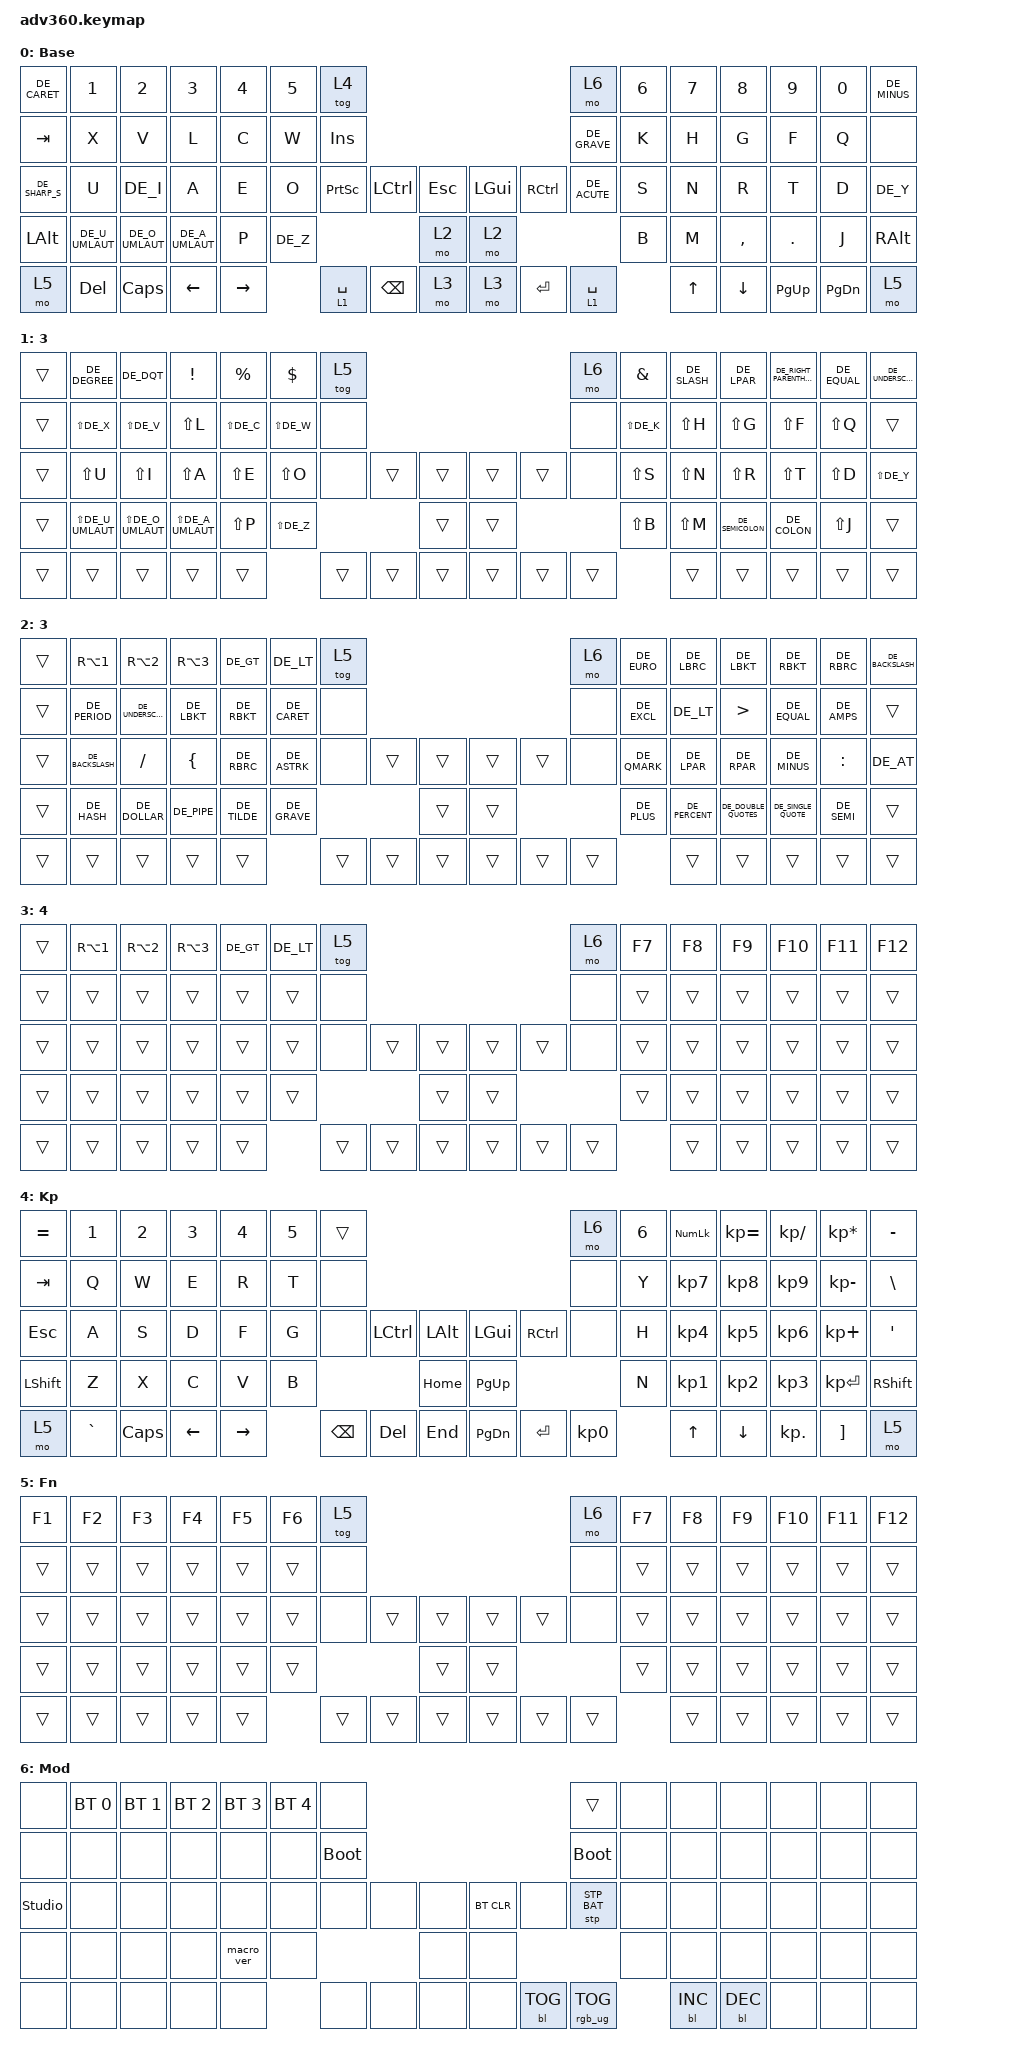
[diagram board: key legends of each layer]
#include <dt-bindings/zmk/stp.h>
#include <behaviors.dtsi>
#include <dt-bindings/zmk/backlight.h>
#include <dt-bindings/zmk/bt.h>
#include <dt-bindings/zmk/keys.h>
#include <dt-bindings/zmk/rgb.h>
#include "keys_de.h"

/ {
    behaviors {
        #include "macros.dtsi"
      #include "version.dtsi"

        hm: homerow_mods {
            compatible = "zmk,behavior-hold-tap";
            label = "HOMEROW_MODS";
            #binding-cells = <2>;
            tapping-term-ms = <200>;
            quick_tap_ms = <175>;
            flavor = "tap-preferred";
            bindings = <&kp>, <&kp>;
        };

        ThumbShift: ThumbShift {
            compatible = "zmk,behavior-hold-tap";
            label = "THUMBSHIFT";
            bindings = <&mo>, <&kp>;

            #binding-cells = <2>;
            tapping-term-ms = <200>;
            flavor = "balanced";
            require-prior-idle-ms = <120>;
        };
    };

    keymap {
        compatible = "zmk,keymap";

        default_layer {
            display-name = "Base";
            bindings = <
&kp DE_CARET    &kp N1           &kp N2           &kp N3           &kp N4     &kp N5    &tog 4                                                                &mo 6                &kp N6  &kp N7  &kp N8     &kp N9       &kp N0         &kp DE_MINUS
&kp TAB         &kp X            &kp V            &kp L            &kp C      &kp W     &kp INSERT                                                            &kp DE_GRAVE         &kp K   &kp H   &kp G      &kp F        &kp Q          &none
&kp DE_SHARP_S  &kp U            &kp DE_I         &kp A            &kp E      &kp O     &kp PRINTSCREEN      &kp LCTRL      &kp ESC      &kp LGUI  &kp RCTRL  &kp DE_ACUTE         &kp S   &kp N   &kp R      &kp T        &kp D          &kp DE_Y
&kp LEFT_ALT    &kp DE_U_UMLAUT  &kp DE_O_UMLAUT  &kp DE_A_UMLAUT  &kp P      &kp DE_Z                                      &mo 2        &mo 2                                     &kp B   &kp M   &kp COMMA  &kp DOT      &kp J          &kp RIGHT_ALT
&mo 5           &kp DELETE       &kp CAPS         &kp LEFT         &kp RIGHT            &ThumbShift 1 SPACE  &kp BACKSPACE  &mo 3        &mo 3     &kp ENTER  &ThumbShift 1 SPACE          &kp UP  &kp DOWN   &kp PAGE_UP  &kp PAGE_DOWN  &mo 5
            >;
        };

        Neo2Shift {
            display-name = "3";
            bindings = <
&trans  &kp DE_DEGREE        &kp DE_DQT           &kp EXCL             &kp PRCNT     &kp DLLR      &tog 5                                      &mo 6   &kp AMPS      &kp DE_SLASH  &kp DE_LPAR       &kp DE_RIGHT_PARENTHESIS  &kp DE_EQUAL  &kp DE_UNDERSCORE
&trans  &kp LS(DE_X)         &kp LS(DE_V)         &kp LS(L)            &kp LS(DE_C)  &kp LS(DE_W)  &none                                       &none   &kp LS(DE_K)  &kp LS(H)     &kp LS(G)         &kp LS(F)                 &kp LS(Q)     &trans
&trans  &kp LS(U)            &kp LS(I)            &kp LS(A)            &kp LS(E)     &kp LS(O)     &none   &trans  &trans      &trans  &trans  &none   &kp LS(S)     &kp LS(N)     &kp LS(R)         &kp LS(T)                 &kp LS(D)     &kp LS(DE_Y)
&trans  &kp LS(DE_U_UMLAUT)  &kp LS(DE_O_UMLAUT)  &kp LS(DE_A_UMLAUT)  &kp LS(P)     &kp LS(DE_Z)                  &trans      &trans                  &kp LS(B)     &kp LS(M)     &kp DE_SEMICOLON  &kp DE_COLON              &kp LS(J)     &trans
&trans  &trans               &trans               &trans               &trans                      &trans  &trans  &trans      &trans  &trans  &trans                &trans        &trans            &trans                    &trans        &trans
            >;
        };

        Neo3 {
            display-name = "3";
            bindings = <
&trans  &kp RA(NUMBER_1)  &kp RA(NUMBER_2)   &kp RA(NUMBER_3)  &kp DE_GT     &kp DE_LT     &tog 5                                      &mo 6   &kp DE_EURO   &kp DE_LBRC     &kp DE_LBKT           &kp DE_RBKT          &kp DE_RBRC  &kp DE_BACKSLASH
&trans  &kp DE_PERIOD     &kp DE_UNDERSCORE  &kp DE_LBKT       &kp DE_RBKT   &kp DE_CARET  &none                                       &none   &kp DE_EXCL   &kp DE_LT       &kp GT                &kp DE_EQUAL         &kp DE_AMPS  &trans
&trans  &kp DE_BACKSLASH  &kp FSLH           &kp LBRC          &kp DE_RBRC   &kp DE_ASTRK  &none   &trans  &trans      &trans  &trans  &none   &kp DE_QMARK  &kp DE_LPAR     &kp DE_RPAR           &kp DE_MINUS         &kp COLON    &kp DE_AT
&trans  &kp DE_HASH       &kp DE_DOLLAR      &kp DE_PIPE       &kp DE_TILDE  &kp DE_GRAVE                  &trans      &trans                  &kp DE_PLUS   &kp DE_PERCENT  &kp DE_DOUBLE_QUOTES  &kp DE_SINGLE_QUOTE  &kp DE_SEMI  &trans
&trans  &trans            &trans             &trans            &trans                      &trans  &trans  &trans      &trans  &trans  &trans                &trans          &trans                &trans               &trans       &trans
            >;
        };

        Neo4 {
            display-name = "4";
            bindings = <
&trans  &kp RA(N1)  &kp RA(NUMBER_2)  &kp RA(N3)  &kp DE_GT  &kp DE_LT  &tog 5                                      &mo 6   &kp F7  &kp F8  &kp F9  &kp F10  &kp F11  &kp F12
&trans  &trans      &trans            &trans      &trans     &trans     &none                                       &none   &trans  &trans  &trans  &trans   &trans   &trans
&trans  &trans      &trans            &trans      &trans     &trans     &none   &trans  &trans      &trans  &trans  &none   &trans  &trans  &trans  &trans   &trans   &trans
&trans  &trans      &trans            &trans      &trans     &trans                     &trans      &trans                  &trans  &trans  &trans  &trans   &trans   &trans
&trans  &trans      &trans            &trans      &trans                &trans  &trans  &trans      &trans  &trans  &trans          &trans  &trans  &trans   &trans   &trans
            >;
        };

        keypad {
            display-name = "Kp";
            bindings = <
&kp EQUAL  &kp N1     &kp N2    &kp N3    &kp N4     &kp N5  &trans                                                   &mo 6      &kp N6  &kp KP_NUM  &kp KP_EQUAL  &kp KP_DIVIDE  &kp KP_MULTIPLY  &kp MINUS
&kp TAB    &kp Q      &kp W     &kp E     &kp R      &kp T   &none                                                    &none      &kp Y   &kp KP_N7   &kp KP_N8     &kp KP_N9      &kp KP_MINUS     &kp BSLH
&kp ESC    &kp A      &kp S     &kp D     &kp F      &kp G   &none     &kp LCTRL  &kp LALT      &kp LGUI   &kp RCTRL  &none      &kp H   &kp KP_N4   &kp KP_N5     &kp KP_N6      &kp KP_PLUS      &kp SQT
&kp LSHFT  &kp Z      &kp X     &kp C     &kp V      &kp B                        &kp HOME      &kp PG_UP                        &kp N   &kp KP_N1   &kp KP_N2     &kp KP_N3      &kp KP_ENTER     &kp RSHFT
&mo 5      &kp GRAVE  &kp CAPS  &kp LEFT  &kp RIGHT          &kp BSPC  &kp DEL    &kp END       &kp PG_DN  &kp ENTER  &kp KP_N0          &kp UP      &kp DOWN      &kp KP_DOT     &kp RBKT         &mo 5
            >;
        };

        fn {
            display-name = "Fn";
            bindings = <
&kp F1  &kp F2  &kp F3  &kp F4  &kp F5  &kp F6  &tog 5                                      &mo 6   &kp F7  &kp F8  &kp F9  &kp F10  &kp F11  &kp F12
&trans  &trans  &trans  &trans  &trans  &trans  &none                                       &none   &trans  &trans  &trans  &trans   &trans   &trans
&trans  &trans  &trans  &trans  &trans  &trans  &none   &trans  &trans      &trans  &trans  &none   &trans  &trans  &trans  &trans   &trans   &trans
&trans  &trans  &trans  &trans  &trans  &trans                  &trans      &trans                  &trans  &trans  &trans  &trans   &trans   &trans
&trans  &trans  &trans  &trans  &trans          &trans  &trans  &trans      &trans  &trans  &trans          &trans  &trans  &trans   &trans   &trans
            >;
        };

        mod {
            display-name = "Mod";
            bindings = <
&none           &bt BT_SEL 0  &bt BT_SEL 1  &bt BT_SEL 2  &bt BT_SEL 3  &bt BT_SEL 4  &none                                                  &trans           &none  &none       &none       &none  &none  &none
&none           &none         &none         &none         &none         &none         &bootloader                                            &bootloader      &none  &none       &none       &none  &none  &none
&studio_unlock  &none         &none         &none         &none         &none         &none        &none  &none      &bt BT_CLR  &none       &stp STP_BAT     &none  &none       &none       &none  &none  &none
&none           &none         &none         &none         &macro_ver    &none                             &none      &none                                    &none  &none       &none       &none  &none  &none
&none           &none         &none         &none         &none                       &none        &none  &none      &none       &bl BL_TOG  &rgb_ug RGB_TOG         &bl BL_INC  &bl BL_DEC  &none  &none  &none
            >;
        };
    };
};
